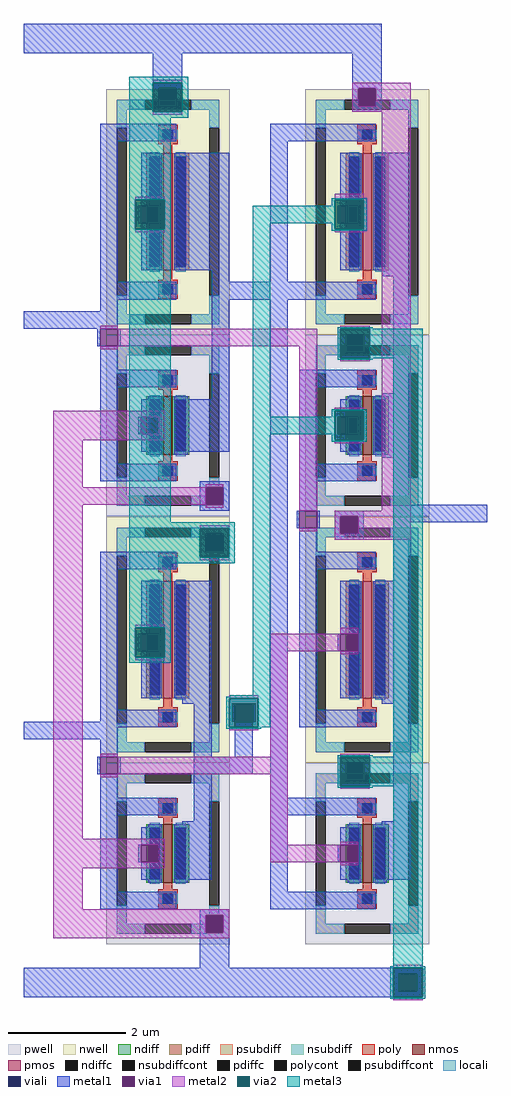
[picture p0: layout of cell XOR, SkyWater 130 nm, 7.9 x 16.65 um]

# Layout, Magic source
magic
tech sky130A
magscale 1 2
<< viali >>
rect 540 1960 600 2020
rect 1220 1960 1280 2020
rect 1180 1120 1240 1180
rect 700 600 760 660
rect 1160 500 1220 560
rect 700 440 760 500
rect 1180 -340 1240 -280
rect 700 -860 760 -800
<< metal1 >>
rect 80 2140 1300 2240
rect 520 2020 620 2140
rect 520 1960 540 2020
rect 600 1960 620 2020
rect 520 1940 620 1960
rect 1200 2020 1300 2140
rect 1200 1960 1220 2020
rect 1280 1960 1300 2020
rect 1200 1940 1300 1960
rect 340 1840 600 1900
rect 920 1840 1280 1900
rect 340 1360 400 1840
rect 480 1620 540 1800
rect 470 1560 480 1620
rect 540 1560 550 1620
rect 480 1400 540 1560
rect 600 1400 780 1800
rect 720 1360 780 1400
rect 920 1360 980 1840
rect 1160 1620 1220 1800
rect 1150 1560 1160 1620
rect 1220 1560 1230 1620
rect 1160 1400 1220 1560
rect 1280 1400 1400 1800
rect 1300 1380 1400 1400
rect 340 1300 600 1360
rect 720 1300 1280 1360
rect 340 1260 400 1300
rect 80 1200 400 1260
rect 330 1140 340 1200
rect 400 1140 410 1200
rect 340 1060 400 1140
rect 340 1000 600 1060
rect 340 740 400 1000
rect 720 960 780 1300
rect 480 900 540 960
rect 470 840 480 900
rect 540 840 550 900
rect 480 780 540 840
rect 600 780 780 960
rect 340 680 600 740
rect 680 660 780 680
rect 680 600 700 660
rect 760 600 780 660
rect 680 580 780 600
rect 680 500 780 520
rect 680 440 700 500
rect 760 440 780 500
rect 340 380 600 440
rect 680 420 780 440
rect 340 -100 400 380
rect 480 160 540 340
rect 470 100 480 160
rect 540 100 550 160
rect 480 -60 540 100
rect 600 -60 720 340
rect 620 -80 720 -60
rect 340 -140 600 -100
rect 80 -160 600 -140
rect 80 -200 400 -160
rect 340 -260 400 -200
rect 660 -260 720 -80
rect 790 -140 800 -80
rect 860 -140 870 -80
rect 800 -260 860 -140
rect 330 -320 340 -260
rect 400 -320 410 -260
rect 660 -320 860 -260
rect 340 -400 400 -320
rect 340 -460 600 -400
rect 340 -720 400 -460
rect 660 -480 720 -320
rect 620 -500 720 -480
rect 480 -560 540 -500
rect 470 -620 480 -560
rect 540 -620 550 -560
rect 480 -680 540 -620
rect 600 -680 720 -500
rect 920 -400 980 1300
rect 1160 1180 1260 1200
rect 1160 1120 1180 1180
rect 1240 1120 1260 1180
rect 1160 1100 1260 1120
rect 1020 1000 1280 1060
rect 1020 740 1080 1000
rect 1340 980 1400 1380
rect 1300 960 1400 980
rect 1160 900 1220 960
rect 1150 840 1160 900
rect 1220 840 1230 900
rect 1160 780 1220 840
rect 1280 780 1400 960
rect 1300 760 1400 780
rect 1020 680 1280 740
rect 1020 580 1080 680
rect 1340 600 1400 760
rect 1010 520 1020 580
rect 1080 520 1090 580
rect 1140 560 1240 580
rect 1020 440 1080 520
rect 1140 500 1160 560
rect 1220 500 1240 560
rect 1140 480 1240 500
rect 1340 540 1660 600
rect 1020 380 1280 440
rect 1020 -100 1080 380
rect 1340 340 1400 540
rect 1160 160 1220 340
rect 1150 100 1160 160
rect 1220 100 1230 160
rect 1160 -60 1220 100
rect 1280 -60 1400 340
rect 1300 -80 1400 -60
rect 1020 -160 1280 -100
rect 1160 -280 1260 -260
rect 1160 -340 1180 -280
rect 1240 -340 1260 -280
rect 1160 -360 1260 -340
rect 920 -460 1280 -400
rect 920 -720 980 -460
rect 1340 -480 1400 -80
rect 1300 -500 1400 -480
rect 1160 -560 1220 -500
rect 1150 -620 1160 -560
rect 1220 -620 1230 -560
rect 1160 -680 1220 -620
rect 1280 -680 1400 -500
rect 340 -780 600 -720
rect 920 -780 1280 -720
rect 680 -800 780 -780
rect 680 -860 700 -800
rect 760 -860 780 -800
rect 680 -980 780 -860
rect 80 -1000 1440 -980
rect 80 -1060 1360 -1000
rect 1420 -1060 1440 -1000
rect 80 -1080 1440 -1060
<< via1 >>
rect 540 1960 600 2020
rect 1220 1960 1280 2020
rect 480 1560 540 1620
rect 1160 1560 1220 1620
rect 340 1140 400 1200
rect 480 840 540 900
rect 700 600 760 660
rect 700 440 760 500
rect 480 100 540 160
rect 800 -140 860 -80
rect 340 -320 400 -260
rect 480 -620 540 -560
rect 1180 1120 1240 1180
rect 1160 840 1220 900
rect 1020 520 1080 580
rect 1160 500 1220 560
rect 1160 100 1220 160
rect 1180 -340 1240 -280
rect 1160 -620 1220 -560
rect 700 -860 760 -800
rect 1360 -1060 1420 -1000
<< metal2 >>
rect 520 2040 620 2050
rect 1200 2020 1400 2040
rect 1200 1960 1220 2020
rect 1280 1960 1400 2020
rect 1200 1940 1400 1960
rect 520 1930 620 1940
rect 460 1640 560 1650
rect 460 1530 560 1540
rect 1140 1640 1240 1660
rect 1140 1530 1240 1540
rect 340 1200 400 1210
rect 1160 1200 1260 1210
rect 400 1140 1080 1200
rect 340 1130 400 1140
rect 180 900 560 920
rect 180 840 480 900
rect 540 840 560 900
rect 180 820 560 840
rect 180 660 280 820
rect 700 660 760 670
rect 180 600 700 660
rect 180 -540 280 600
rect 700 590 760 600
rect 1020 580 1080 1140
rect 1160 1090 1260 1100
rect 1140 920 1240 930
rect 1140 810 1240 820
rect 1300 580 1400 1940
rect 680 520 780 530
rect 1020 510 1080 520
rect 1140 560 1400 580
rect 1140 500 1160 560
rect 1220 500 1400 560
rect 1140 480 1400 500
rect 680 410 780 420
rect 460 180 560 190
rect 1160 160 1220 180
rect 460 70 560 80
rect 920 100 1160 160
rect 780 -60 880 -50
rect 780 -170 880 -160
rect 340 -260 400 -250
rect 920 -260 980 100
rect 1160 90 1220 100
rect 400 -320 980 -260
rect 340 -330 400 -320
rect 180 -560 560 -540
rect 180 -620 480 -560
rect 540 -620 560 -560
rect 920 -560 980 -320
rect 1160 -260 1260 -250
rect 1160 -370 1260 -360
rect 1160 -560 1220 -550
rect 920 -620 1160 -560
rect 180 -640 560 -620
rect 1160 -630 1220 -620
rect 180 -780 280 -640
rect 180 -800 780 -780
rect 180 -860 700 -800
rect 760 -860 780 -800
rect 180 -880 780 -860
rect 1340 -980 1440 -970
rect 1340 -1090 1440 -1080
<< via2 >>
rect 520 2020 620 2040
rect 520 1960 540 2020
rect 540 1960 600 2020
rect 600 1960 620 2020
rect 520 1940 620 1960
rect 460 1620 560 1640
rect 460 1560 480 1620
rect 480 1560 540 1620
rect 540 1560 560 1620
rect 460 1540 560 1560
rect 1140 1620 1240 1640
rect 1140 1560 1160 1620
rect 1160 1560 1220 1620
rect 1220 1560 1240 1620
rect 1140 1540 1240 1560
rect 1160 1180 1260 1200
rect 1160 1120 1180 1180
rect 1180 1120 1240 1180
rect 1240 1120 1260 1180
rect 1160 1100 1260 1120
rect 1140 900 1240 920
rect 1140 840 1160 900
rect 1160 840 1220 900
rect 1220 840 1240 900
rect 1140 820 1240 840
rect 680 500 780 520
rect 680 440 700 500
rect 700 440 760 500
rect 760 440 780 500
rect 680 420 780 440
rect 460 160 560 180
rect 460 100 480 160
rect 480 100 540 160
rect 540 100 560 160
rect 460 80 560 100
rect 780 -80 880 -60
rect 780 -140 800 -80
rect 800 -140 860 -80
rect 860 -140 880 -80
rect 780 -160 880 -140
rect 1160 -280 1260 -260
rect 1160 -340 1180 -280
rect 1180 -340 1240 -280
rect 1240 -340 1260 -280
rect 1160 -360 1260 -340
rect 1340 -1000 1440 -980
rect 1340 -1060 1360 -1000
rect 1360 -1060 1420 -1000
rect 1420 -1060 1440 -1000
rect 1340 -1080 1440 -1060
<< metal3 >>
rect 440 2040 640 2060
rect 440 1940 520 2040
rect 620 1940 640 2040
rect 440 1920 640 1940
rect 440 1640 580 1920
rect 440 1540 460 1640
rect 560 1540 580 1640
rect 1130 1640 1250 1645
rect 1130 1620 1140 1640
rect 440 540 580 1540
rect 860 1560 1140 1620
rect 860 900 920 1560
rect 1130 1540 1140 1560
rect 1240 1540 1250 1640
rect 1130 1535 1250 1540
rect 1150 1200 1270 1205
rect 1150 1100 1160 1200
rect 1260 1100 1440 1200
rect 1150 1095 1270 1100
rect 1130 920 1250 925
rect 1130 900 1140 920
rect 860 840 1140 900
rect 440 520 800 540
rect 440 420 680 520
rect 780 420 800 520
rect 440 400 800 420
rect 440 180 580 400
rect 440 80 460 180
rect 560 80 580 180
rect 440 60 580 80
rect 860 -50 920 840
rect 1130 820 1140 840
rect 1240 820 1250 920
rect 1130 815 1250 820
rect 784 -55 920 -50
rect 770 -60 920 -55
rect 770 -160 780 -60
rect 880 -160 920 -60
rect 770 -165 890 -160
rect 1150 -260 1270 -255
rect 1340 -260 1440 1100
rect 1150 -360 1160 -260
rect 1260 -360 1440 -260
rect 1150 -365 1270 -360
rect 1340 -975 1440 -360
rect 1330 -980 1450 -975
rect 1330 -1080 1340 -980
rect 1440 -1080 1450 -980
rect 1330 -1085 1450 -1080
use sky130_fd_pr__nfet_01v8_MH3LLV  XM1
transform -1 0 571 0 -1 -590
box -211 -310 211 310
use sky130_fd_pr__pfet_01v8_A6MZLZ  XM2
transform 1 0 571 0 1 1599
box -211 -419 211 419
use sky130_fd_pr__pfet_01v8_A6MZLZ  XM3
transform 1 0 1251 0 1 1599
box -211 -419 211 419
use sky130_fd_pr__pfet_01v8_A6MZLZ  XM4
transform -1 0 1251 0 -1 139
box -211 -419 211 419
use sky130_fd_pr__nfet_01v8_MH3LLV  XM5
transform -1 0 1251 0 -1 870
box -211 -310 211 310
use sky130_fd_pr__nfet_01v8_MH3LLV  XM6
transform 1 0 571 0 1 870
box -211 -310 211 310
use sky130_fd_pr__nfet_01v8_MH3LLV  XM7
transform 1 0 1251 0 1 -590
box -211 -310 211 310
use sky130_fd_pr__pfet_01v8_A6MZLZ  XM9
transform -1 0 571 0 -1 139
box -211 -419 211 419
<< end >>

# cell sky130_fd_pr__nfet_01v8_MH3LLV: kit device sky130_fd_pr__nfet_01v8, w 1.0 l 0.15 m 1 nf 1 diffcov 100 polycov 100 guard 1 glc 1 grc 1 gtc 1 gbc 1 tbcov 100 rlcov 100 topc 1 botc 1 poverlap 0 doverlap 1 lmin 0.15 wmin 0.42 class mosfet compatible {sky130_fd_pr__nfet_01v8 sky130_fd_pr__nfet_01v8_lvt sky130_fd_bs_flash__special_sonosfet_star sky130_fd_pr__nfet_g5v0d10v5 sky130_fd_pr__nfet_05v0_nvt sky130_fd_pr__nfet_03v3_nvt} full_metal 1 conn_gates 0 viasrc 100 viadrn 100 viagate 100 viagb 0 viagr 0 viagl 0 viagt 0 doports 1 ad 0.29 as 0.29 pd 2.58 ps 2.58 nrd 0.29 nrs 0.29 sa 0 sb 0 sd 0 mult 1

# cell sky130_fd_pr__pfet_01v8_A6MZLZ: kit device sky130_fd_pr__pfet_01v8, w 2.0 l 0.15 m 1 nf 1 diffcov 100 polycov 100 guard 1 glc 1 grc 1 gtc 1 gbc 1 tbcov 100 rlcov 100 topc 1 botc 1 poverlap 0 doverlap 1 lmin 0.15 wmin 0.42 class mosfet compatible {sky130_fd_pr__pfet_01v8 sky130_fd_pr__pfet_01v8_lvt sky130_fd_pr__pfet_01v8_hvt sky130_fd_pr__pfet_g5v0d10v5} full_metal 1 conn_gates 0 viasrc 100 viadrn 100 viagate 100 viagb 0 viagr 0 viagl 0 viagt 0 doports 1 ad 0.58 as 0.58 pd 4.58 ps 4.58 nrd 0.145 nrs 0.145 sa 0 sb 0 sd 0 mult 1
